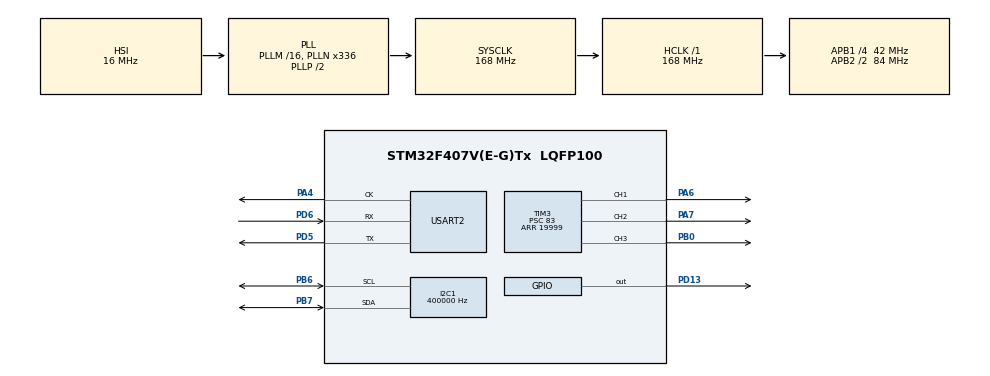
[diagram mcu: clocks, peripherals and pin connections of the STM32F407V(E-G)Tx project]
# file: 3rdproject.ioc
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I2C1.ClockSpeed=400000
I2C1.I2C_Mode=I2C_Fast
Mcu.Family=STM32F4
Mcu.Name=STM32F407V(E-G)Tx
Mcu.Package=LQFP100
NVIC.I2C1_ER_IRQn=true\:0\:0\:false\:false\:true\:true\:true\:true
NVIC.I2C1_EV_IRQn=true\:0\:0\:false\:false\:true\:true\:true\:true
NVIC.PriorityGroup=NVIC_PRIORITYGROUP_4
PA13.Mode=Serial_Wire
PA13.Signal=SYS_JTMS-SWDIO
PA14.Mode=Serial_Wire
PA14.Signal=SYS_JTCK-SWCLK
PA4.Mode=Synchronous
PA4.Signal=USART2_CK
PA6.Signal=S_TIM3_CH1
PA7.Signal=S_TIM3_CH2
PB0.Signal=S_TIM3_CH3
PB6.Mode=I2C
PB6.Signal=I2C1_SCL
PB7.Mode=I2C
PB7.Signal=I2C1_SDA
PD13.Signal=GPIO_Output
PD5.Mode=Synchronous
PD5.Signal=USART2_TX
PD6.Mode=Synchronous
PD6.Signal=USART2_RX
ProjectManager.HeapSize=0x200
ProjectManager.StackSize=0x400
ProjectManager.TargetToolchain=STM32CubeIDE
RCC.48MHZClocksFreq_Value=84000000
RCC.AHBFreq_Value=168000000
RCC.APB1CLKDivider=RCC_HCLK_DIV4
RCC.APB1Freq_Value=42000000
RCC.APB1TimFreq_Value=84000000
RCC.APB2CLKDivider=RCC_HCLK_DIV2
RCC.APB2Freq_Value=84000000
RCC.APB2TimFreq_Value=168000000
RCC.CortexFreq_Value=168000000
RCC.HCLKFreq_Value=168000000
RCC.HSE_VALUE=25000000
RCC.HSI_VALUE=16000000
RCC.LSE_VALUE=32768
RCC.PLLN=336
RCC.SYSCLKFreq_VALUE=168000000
RCC.SYSCLKSource=RCC_SYSCLKSOURCE_PLLCLK
RCC.VCOOutputFreq_Value=336000000
SH.S_TIM3_CH1.0=TIM3_CH1,PWM Generation1 CH1
SH.S_TIM3_CH2.0=TIM3_CH2,PWM Generation2 CH2
SH.S_TIM3_CH3.0=TIM3_CH3,PWM Generation3 CH3
TIM3.Channel-PWM\ Generation1\ CH1=TIM_CHANNEL_1
TIM3.Channel-PWM\ Generation2\ CH2=TIM_CHANNEL_2
TIM3.Channel-PWM\ Generation3\ CH3=TIM_CHANNEL_3
TIM3.Period=19999
TIM3.Prescaler=83
TIM3.Pulse-PWM\ Generation1\ CH1=1500
TIM3.Pulse-PWM\ Generation2\ CH2=1500
TIM3.Pulse-PWM\ Generation3\ CH3=1500
USART2.VirtualMode=VM_SYNC
board=custom

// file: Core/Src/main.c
/* USER CODE BEGIN Header */
/**
  ******************************************************************************
  * @file           : main.c
  * @brief          : Main program body
  ******************************************************************************
  * @attention
  *
  * Copyright (c) 2025 STMicroelectronics.
  * All rights reserved.
  *
  * This software is licensed under terms that can be found in the LICENSE file
  * in the root directory of this software component.
  * If no LICENSE file comes with this software, it is provided AS-IS.
  *
  ******************************************************************************
  */
/* USER CODE END Header */
#include "main.h"
#include "i2c.h"
#include "tim.h"
#include "usart.h"
#include "gpio.h"
#include <math.h>
#include <stdio.h>      // ★ 추가
#include <string.h>

/* USER CODE BEGIN PD */
#define MPU9250_ADDR  (0x68 << 1)   // I2C 7-bit -> left shift
#define MPU9250_WHOAMI 0x75
/* USER CODE END PD */

/* USER CODE BEGIN PV */
// ★ 추가: roll, pitch 변수
float roll = 0.0f;   // ★ 추가
float pitch = 0.0f;  // ★ 추가
float yaw = 0.0f;

float roll_offset = 0.0f;
float pitch_offset = 0.0f;

float roll_corrected = 0.0f;
float pitch_corrected = 0.0f;

// ★ PD 제어 변수
float Kp_roll = 2.1f;
float Kd_roll = 0.02f;
float Kp_pitch = 2.2f;
float Kd_pitch = 0.03f;
float Kp_yaw = 0.0f;
float Kd_yaw = 0.0f;

float roll_prev = 0.0f;
float pitch_prev = 0.0f;
float yaw_prev = 0.0f;

// ======================== ★ 추가: 필터 변수 ========================
float roll_f = 0.0f;
float pitch_f = 0.0f;
float yaw_f = 0.0f;

float comp_alpha = 0.97f;     // Roll/Pitch Complementary Filter
float yaw_lpf_alpha = 0.65f;  // Yaw LPF
float yaw_comp_alpha = 0.995f; // Yaw Drift Correction

// D 항 LPF
float roll_d = 0.0f;
float pitch_d = 0.0f;
float yaw_d = 0.0f;
float d_lpf_alpha = 0.97f;

// ★★★ 추가: 서보 출력 LPF 변수 ★★★
float servo_p_f = 90.0f;
float servo_r_f = 90.0f;
float servo_y_f = 90.0f;

float servo_p_offset = 0.0f;   // Pitch 서보 오프셋
float servo_r_offset = 0.0f;   // Roll 서보 오프셋
float servo_y_offset = 0.0f;   // Yaw 서보 오프셋

/* USER CODE END PV */

void SystemClock_Config(void);
/* USER CODE BEGIN PFP */
// ★ 추가 함수 선언
// ★ constrain() 함수 프로토타입 (반드시 필요)
static float constrain(float val, float min_val, float max_val);
void MPU9250_Read_Accel(int16_t *ax, int16_t *ay, int16_t *az);  // ★ 추가
void Calculate_RollPitch(int16_t ax, int16_t ay, int16_t az);
void MPU9250_Read_Gyro(int16_t *gx, int16_t *gy, int16_t *gz); // ★ 추가
// ---- 함수 프로토타입 추가 (중요!!) ----
uint8_t MPU9250_Read_WHOAMI(void);      // ★ 추가
void UART_Print(char *msg);
static void Servo_Write(uint32_t channel, float angle)
{
    if (angle > 180.0f) angle = 180.0f;
    if (angle < 0.0f) angle = 0.0f;
    uint16_t pulse = 500 + (angle * 2000) / 180;
    __HAL_TIM_SET_COMPARE(&htim3, channel, pulse);
}

// ======================== IMU & Servo 초기화 함수 ========================
void Gimbal_Init()
{
    // 서보 중앙
    Servo_Write(TIM_CHANNEL_1, 90);
    Servo_Write(TIM_CHANNEL_2, 90);
    Servo_Write(TIM_CHANNEL_3, 90);
    HAL_Delay(700);

    // IMU 10번 정도 읽어서 평균을 Offset으로 저장
    roll_offset = 0;
    pitch_offset = 0;

    for (int i = 0; i < 10; i++)
    {
        int16_t ax, ay, az;
        MPU9250_Read_Accel(&ax, &ay, &az);
        Calculate_RollPitch(ax, ay, az);

        roll_offset  += roll;
        pitch_offset += pitch;

        HAL_Delay(20);
    }

    roll_offset  /= 10.0f;
    pitch_offset /= 10.0f;

    // ---- 서보 오프셋(중앙 보정값) ----
    // 여기는 나중에 실제 기구물 평탄 맞춘 뒤 직접 측정해서 넣을 값
    servo_p_offset = 0.0f;   // 예: pitch가 오른쪽으로 기울면 +3.0 넣기
    servo_r_offset = 0.0f;   // 예: roll이 앞쪽으로 기울면 -2.5 넣기
    servo_y_offset = 0.0f;   // yaw는 대부분 0 유지

    // 초기화
    roll = pitch = yaw = 0;
    roll_f = pitch_f = yaw_f = 0;
    roll_prev = pitch_prev = yaw_prev = 0;

    servo_p_f = 90;
    servo_r_f = 90;
    servo_y_f = 90;
}

/* USER CODE END PFP */

int main(void)
{

  /* MCU Configuration--------------------------------------------------------*/

  /* Reset of all peripherals, Initializes the Flash interface and the Systick. */
  HAL_Init();

  /* Configure the system clock */
  SystemClock_Config();

  /* Initialize all configured peripherals */
  MX_GPIO_Init();
  MX_TIM3_Init();
  MX_I2C1_Init();
  MX_USART2_Init();
  /* USER CODE BEGIN 2 */
  uint8_t id = MPU9250_Read_WHOAMI();
  if (id == 0x71)
      HAL_GPIO_WritePin(GPIOD, GPIO_PIN_13, GPIO_PIN_SET);
  else
      HAL_GPIO_WritePin(GPIOD, GPIO_PIN_13, GPIO_PIN_RESET);

  // PWM 시작
  HAL_TIM_PWM_Start(&htim3, TIM_CHANNEL_1);
  HAL_TIM_PWM_Start(&htim3, TIM_CHANNEL_2);
  HAL_TIM_PWM_Start(&htim3, TIM_CHANNEL_3);

  // 초기 서보 중앙
  Servo_Write(TIM_CHANNEL_1, 90);
  Servo_Write(TIM_CHANNEL_2, 90);
  Servo_Write(TIM_CHANNEL_3, 90);
  HAL_Delay(500);
  // ★★★★★ 초기화 함수 호출 ★★★★★
  Gimbal_Init();

  uint32_t prev_tick = HAL_GetTick();

  /* USER CODE END 2 */

  /* Infinite loop */
  /* USER CODE BEGIN WHILE */
  while (1)
  {
	    /* -------------------- MPU9250 읽기 -------------------- */
	    int16_t ax, ay, az;
	    int16_t gx, gy, gz;

	    MPU9250_Read_Accel(&ax, &ay, &az);
	    MPU9250_Read_Gyro(&gx, &gy, &gz);

	    Calculate_RollPitch(ax, ay, az);
	    /* Gyro to dps */
	    float gyro_x = gx / 131.0f;
	    float gyro_y = gy / 131.0f;
	    float gyro_z_dps = gz / 131.0f;

	    /* -------------------- Δt 계산 -------------------- */
	    uint32_t now = HAL_GetTick();
	    float dt = (now - prev_tick) / 1000.0f;
	    if (dt <= 0) dt = 0.01f;
	    prev_tick = now;
	    /* Offset 보정 */
	    roll_corrected  = roll  - roll_offset;
	    pitch_corrected = pitch - pitch_offset;

	    // ================== ★(Complementary Filter) ==================
	    roll_f  = comp_alpha * (roll_f  + gyro_x * dt) + (1 - comp_alpha) * roll_corrected;
	    pitch_f = comp_alpha * (pitch_f + gyro_y * dt) + (1 - comp_alpha) * pitch_corrected;

	    // ================== ★ Yaw 보정 (Gyro-LPF + Drift) ==================
	    float yaw_raw = yaw_f + gyro_z_dps * dt;
	    yaw_f = yaw_lpf_alpha * yaw_f + (1 - yaw_lpf_alpha) * yaw_raw;
	    yaw_f = yaw_comp_alpha * yaw_f;

	    //   ★ 추가: IMU 2차 저역통과 필터 (노이즈 더 줄여 부드럽게)
	    // ==========================================================
	    static float roll_f2 = 0.0f, pitch_f2 = 0.0f;
	    float imu_lpf_alpha = 0.99f;  // 0.90 ~ 0.97 매우 추천

	    roll_f2  = imu_lpf_alpha * roll_f2  + (1 - imu_lpf_alpha) * roll_f;
	    pitch_f2 = imu_lpf_alpha * pitch_f2 + (1 - imu_lpf_alpha) * pitch_f;

	    // ------------------ PD 제어 입력 ------------------
	    float roll_err  = 0.0f - roll_f2;
	    float pitch_err = 0.0f - pitch_f2;
	    float yaw_err   = 0.0f - yaw_f;

	    // ★ 추가: 아주 작은 오차는 무시 (deadband)
	    float err_dead = 4.5;   // 2.5도 이내는 무시

	    if (fabsf(roll_err)  < err_dead) roll_err  = 0.0f;
	    if (fabsf(pitch_err) < err_dead) pitch_err = 0.0f;

	    // ================== ★ 모든 축 D항 LPF 적용 ==================
	    float roll_d_raw  = (roll_err  - roll_prev)  / dt;
	    float pitch_d_raw = (pitch_err - pitch_prev) / dt;
	    float yaw_d_raw   = (yaw_err   - yaw_prev)   / dt;

	    roll_d  = d_lpf_alpha * roll_d  + (1 - d_lpf_alpha) * roll_d_raw;
	    pitch_d = d_lpf_alpha * pitch_d + (1 - d_lpf_alpha) * pitch_d_raw;
	    yaw_d   = d_lpf_alpha * yaw_d   + (1 - d_lpf_alpha) * yaw_d_raw;

	    roll_prev  = roll_err;
	    pitch_prev = pitch_err;
	    yaw_prev   = yaw_err;

	    float roll_out  = Kp_roll  * roll_err  + Kd_roll  * roll_d;
	    float pitch_out = Kp_pitch * pitch_err + Kd_pitch * pitch_d;
	    float yaw_out   = 0.0f; // Kp_yaw   * yaw_err   + Kd_yaw   * yaw_d;

	    /* ★★★ 출력 제한 확대 (±60°) ★★★ */

	    float max_pid_roll  = 170.0f;
	    float max_pid_pitch = 170.0f;   // Pitch 크게
	    float max_pid_yaw   = 60.0f;  // ★ Yaw 회전 크게!

	    if (roll_out > max_pid_roll) roll_out = max_pid_roll;
	    if (roll_out < -max_pid_roll) roll_out = -max_pid_roll;

	    if (pitch_out > max_pid_pitch) pitch_out = max_pid_pitch;
	    if (pitch_out < -max_pid_pitch) pitch_out = -max_pid_pitch;

	    if (yaw_out > max_pid_yaw) yaw_out = max_pid_yaw;
	    if (yaw_out < -max_pid_yaw) yaw_out = -max_pid_yaw;

	            /* ---------- 서보 목표값 ---------- */
	    float servo_p_target = 90 + pitch_out + servo_p_offset;
	    float servo_r_target = 90 + roll_out  + servo_r_offset;
	    float servo_y_target = 90 + yaw_out   + servo_y_offset;
	    /* ---------- ★★★ Servo LPF 적용 ★★★ ---------- */
	    float servo_alpha = 0.92f;   // 0.7~0.9 추천

	    servo_p_f = servo_alpha * servo_p_f + (1 - servo_alpha) * servo_p_target;
	    servo_r_f = servo_alpha * servo_r_f + (1 - servo_alpha) * servo_r_target;
	    servo_y_f = servo_alpha * servo_y_f + (1 - servo_alpha) * servo_y_target;

	    /* ---------- ★★★ 서보 속도 제한 추가(여기 넣는다!) ★★★ */
	    float servo_speed_limit_p = 0.32f;   // Pitch
	    float servo_speed_limit_r = 0.32f;   // Roll
	    float servo_speed_limit_y = 4.0f;   // ★ Yaw는 빠르게! // 1 loop당 최대 3도만 이동

	    // diff는 목표 - 현재
	    float diff_p = servo_p_target - servo_p_f;
	    float diff_r = servo_r_target - servo_r_f;
	    float diff_y = servo_y_target - servo_y_f;

	    servo_p_f += constrain(diff_p, -servo_speed_limit_p, servo_speed_limit_p);
	    servo_r_f += constrain(diff_r, -servo_speed_limit_r, servo_speed_limit_r);
	    servo_y_f += constrain(diff_y, -servo_speed_limit_y, servo_speed_limit_y);

	    /* ======================================================
	        ★ 추가: 서보 데드존 (0.3도 이하 변화는 무시 → 떨림 완전히 제거)
	        ====================================================== */
	     static float prev_sp = 0, prev_sr = 0, prev_sy = 0;
	     float min_move = 0.47f;

	     if (fabsf(servo_p_f - prev_sp) < min_move) servo_p_f = prev_sp;
	     if (fabsf(servo_r_f - prev_sr) < min_move) servo_r_f = prev_sr;
	     if (fabsf(servo_y_f - prev_sy) < min_move) servo_y_f = prev_sy;

	     prev_sp = servo_p_f;
	     prev_sr = servo_r_f;
	     prev_sy = servo_y_f;

        /* ---------- 서보 제한 ---------- */
        if (servo_p_f > 180) servo_p_f = 180;
        if (servo_p_f <   0) servo_p_f =   0;

        if (servo_r_f > 180) servo_r_f = 180;
        if (servo_r_f <   0) servo_r_f =   0;

        if (servo_y_f > 180) servo_y_f = 180;
        if (servo_y_f <   0) servo_y_f =   0;

        /* ---------- 최종 서보 출력 ---------- */
        Servo_Write(TIM_CHANNEL_2, servo_p_f);
        Servo_Write(TIM_CHANNEL_3, servo_r_f);
        Servo_Write(TIM_CHANNEL_1, servo_y_f);

	    // ------------------ 디버그 ------------------
        char buf[150];
        sprintf(buf,
            "RollF:%.2f PitchF:%.2f YawF:%.2f | SP:%.1f SR:%.1f SY:%.1f\r\n",
            roll_f, pitch_f, yaw_f,
            servo_p_f, servo_r_f, servo_y_f
        );
        UART_Print(buf);
    /* USER CODE END WHILE */

  }
}

void SystemClock_Config(void)
{
  RCC_OscInitTypeDef RCC_OscInitStruct = {0};
  RCC_ClkInitTypeDef RCC_ClkInitStruct = {0};

  /** Configure the main internal regulator output voltage
  */
  __HAL_RCC_PWR_CLK_ENABLE();
  __HAL_PWR_VOLTAGESCALING_CONFIG(PWR_REGULATOR_VOLTAGE_SCALE1);

  /** Initializes the RCC Oscillators according to the specified parameters
  * in the RCC_OscInitTypeDef structure.
  */
  RCC_OscInitStruct.OscillatorType = RCC_OSCILLATORTYPE_HSI;
  RCC_OscInitStruct.HSIState = RCC_HSI_ON;
  RCC_OscInitStruct.HSICalibrationValue = RCC_HSICALIBRATION_DEFAULT;
  RCC_OscInitStruct.PLL.PLLState = RCC_PLL_ON;
  RCC_OscInitStruct.PLL.PLLSource = RCC_PLLSOURCE_HSI;
  RCC_OscInitStruct.PLL.PLLM = 16;
  RCC_OscInitStruct.PLL.PLLN = 336;
  RCC_OscInitStruct.PLL.PLLP = RCC_PLLP_DIV2;
  RCC_OscInitStruct.PLL.PLLQ = 4;
  if (HAL_RCC_OscConfig(&RCC_OscInitStruct) != HAL_OK)
  {
    Error_Handler();
  }

  /** Initializes the CPU, AHB and APB buses clocks
  */
  RCC_ClkInitStruct.ClockType = RCC_CLOCKTYPE_HCLK|RCC_CLOCKTYPE_SYSCLK
                              |RCC_CLOCKTYPE_PCLK1|RCC_CLOCKTYPE_PCLK2;
  RCC_ClkInitStruct.SYSCLKSource = RCC_SYSCLKSOURCE_PLLCLK;
  RCC_ClkInitStruct.AHBCLKDivider = RCC_SYSCLK_DIV1;
  RCC_ClkInitStruct.APB1CLKDivider = RCC_HCLK_DIV4;
  RCC_ClkInitStruct.APB2CLKDivider = RCC_HCLK_DIV2;

  if (HAL_RCC_ClockConfig(&RCC_ClkInitStruct, FLASH_LATENCY_5) != HAL_OK)
  {
    Error_Handler();
  }
}

/* USER CODE BEGIN 4 */
// ★ constrian() 함수 추가 위치 ★
// ---------------------------
static float constrain(float val, float min_val, float max_val)
{
    if (val > max_val) return max_val;
    if (val < min_val) return min_val;
    return val;
}

// ★ MPU9250 WHO_AM_I 레지스터(0x75)를 읽어오는 함수 정의
uint8_t MPU9250_Read_WHOAMI(void)
{
    uint8_t who = 0;
    HAL_I2C_Mem_Read(&hi2c1,          // I2C 핸들
                     MPU9250_ADDR,    // 슬레이브 주소
                     MPU9250_WHOAMI,  // WHO_AM_I 레지스터
                     I2C_MEMADD_SIZE_8BIT,
                     &who,
                     1,
                     100);
    return who;
}
// ★ 추가: ACCEL_X/Y/Z 읽기
void MPU9250_Read_Accel(int16_t *ax, int16_t *ay, int16_t *az)
{
    uint8_t data[6];

    HAL_I2C_Mem_Read(&hi2c1,
                     MPU9250_ADDR,
                     0x3B,   // ACCEL_XOUT_H
                     I2C_MEMADD_SIZE_8BIT,
                     data,
                     6,
                     100);

    *ax = (int16_t)(data[0] << 8 | data[1]); // X
    *ay = (int16_t)(data[2] << 8 | data[3]); // Y
    *az = (int16_t)(data[4] << 8 | data[5]); // Z
}

void MPU9250_Read_Gyro(int16_t *gx, int16_t *gy, int16_t *gz)
{
    uint8_t d[6];
    HAL_I2C_Mem_Read(&hi2c1, MPU9250_ADDR, 0x43,
                     I2C_MEMADD_SIZE_8BIT, d, 6, 100);

    *gx = (int16_t)(d[0] << 8 | d[1]);
    *gy = (int16_t)(d[2] << 8 | d[3]);
    *gz = (int16_t)(d[4] << 8 | d[5]);
}

// ★ 추가: Roll / Pitch 계산
void Calculate_RollPitch(int16_t ax, int16_t ay, int16_t az)
{
    float ax_f = ax / 16384.0f;
    float ay_f = ay / 16384.0f;
    float az_f = az / 16384.0f;

    roll  = atan2(ay_f, az_f) * 57.2958f;
    pitch = atan2(-ax_f, sqrt(ay_f*ay_f + az_f*az_f)) * 57.2958f;
}

void UART_Print(char *msg)
{
    HAL_USART_Transmit(&husart2, (uint8_t*)msg, strlen(msg), 10);
}
/* USER CODE END 4 */

void Error_Handler(void)
{
  __disable_irq();
  while (1)
  {
  }
}
